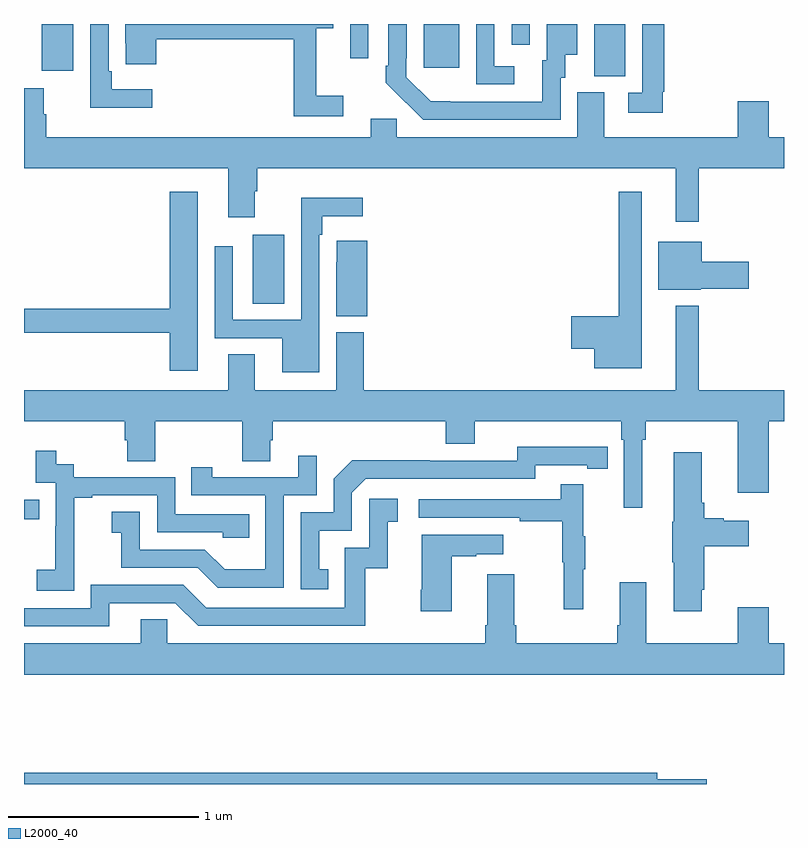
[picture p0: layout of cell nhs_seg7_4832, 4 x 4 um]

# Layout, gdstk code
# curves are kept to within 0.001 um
import gdstk
lib = gdstk.Library(unit=1e-6, precision=1e-09)
def R(c, l, rs):  # rectangles x0, y0, x1, y1
    for r in rs: c.add(gdstk.rectangle(r[:2], r[2:], *l))
def P(c, l, *ps):  # polygons
    for p in ps: c.add(gdstk.Polygon(p, *l))
L2000_40 = (2000, 40)

nhs_seg7_4832 = lib.new_cell('nhs_seg7_4832')
R(nhs_seg7_4832, L2000_40, [(413,1041.394,413.081,1041.495), (414.203,1042.528,414.37,1042.891), (416,1043.725,416.164,1044), (413.093,1043.754,413.26,1044), (415.103,1043.769,415.291,1044), (414.717,1043.82,414.813,1044), (415.566,1043.892,415.662,1044)])
P(nhs_seg7_4832, L2000_40, [(415.824,1043.718),(415.849,1043.718),(415.849,1043.837),(415.912,1043.837),(415.912,1044),(415.751,1044),(415.751,1043.808),(415.727,1043.808),(415.727,1043.592),(415.14,1043.593),(415.011,1043.721),(415.011,1043.821),(415.014,1043.821),(415.014,1044),(414.918,1044),(414.918,1043.779),(414.903,1043.779),(414.903,1043.691),(415.1,1043.496),(415.824,1043.496)],
  [(416.362,1043.644),(416.369,1043.644),(416.369,1044),(416.253,1044),(416.253,1043.637),(416.181,1043.637),(416.181,1043.532),(416.362,1043.532)],
  [(415.579,1043.778),(415.476,1043.778),(415.476,1044),(415.38,1044),(415.38,1043.682),(415.579,1043.682)],
  [(413.674,1043.656),(413.461,1043.656),(413.461,1043.752),(413.445,1043.752),(413.445,1044),(413.349,1044),(413.349,1043.558),(413.674,1043.558)],
  [(414.679,1043.623),(414.539,1043.623),(414.539,1043.978),(414.628,1043.978),(414.628,1044),(413.534,1044),(413.534,1043.899),(413.535,1043.899),(413.535,1043.787),(413.696,1043.787),(413.696,1043.92),(414.421,1043.92),(414.421,1043.514),(414.679,1043.514)],
  [(416.551,1043.24),(417,1043.24),(417,1043.404),(416.92,1043.404),(416.92,1043.593),(416.756,1043.593),(416.756,1043.404),(416.053,1043.404),(416.053,1043.64),(415.913,1043.64),(415.913,1043.404),(414.963,1043.404),(414.963,1043.502),(414.824,1043.502),(414.824,1043.404),(413.117,1043.404),(413.117,1043.525),(413.104,1043.525),(413.104,1043.662),(413,1043.662),(413,1043.24),(414.074,1043.24),(414.074,1042.983),(414.214,1042.983),(414.214,1043.12),(414.227,1043.12),(414.227,1043.24),(416.429,1043.24),(416.429,1042.959),(416.551,1042.959)],
  [(416.251,1043.116),(416.13,1043.116),(416.13,1042.463),(415.881,1042.463),(415.881,1042.292),(416,1042.292),(416,1042.187),(416.251,1042.187)],
  [(413.914,1043.116),(413.768,1043.116),(413.768,1042.502),(413,1042.502),(413,1042.374),(413.768,1042.374),(413.768,1042.176),(413.914,1042.176)],
  [(414.555,1042.892),(414.571,1042.892),(414.571,1042.988),(414.784,1042.988),(414.784,1043.086),(414.459,1043.086),(414.459,1042.443),(414.099,1042.443),(414.099,1042.831),(414.003,1042.831),(414.003,1042.347),(414.359,1042.347),(414.359,1042.166),(414.555,1042.166)],
  [(414.806,1042.858),(414.645,1042.858),(414.645,1042.745),(414.644,1042.745),(414.644,1042.462),(414.806,1042.462)],
  [(416.562,1042.607),(416.815,1042.607),(416.815,1042.749),(416.566,1042.749),(416.566,1042.855),(416.339,1042.855),(416.339,1042.601),(416.562,1042.601)],
  [(416.254,1041.812),(416.273,1041.812),(416.273,1041.908),(416.756,1041.908),(416.756,1041.534),(416.92,1041.534),(416.92,1041.908),(417,1041.908),(417,1042.072),(416.551,1042.072),(416.551,1042.516),(416.429,1042.516),(416.429,1042.072),(414.788,1042.072),(414.788,1042.377),(414.644,1042.377),(414.644,1042.072),(414.214,1042.072),(414.214,1042.262),(414.074,1042.262),(414.074,1042.072),(413,1042.072),(413,1041.908),(413.531,1041.908),(413.531,1041.81),(413.543,1041.81),(413.543,1041.7),(413.691,1041.7),(413.691,1041.908),(414.148,1041.908),(414.148,1041.7),(414.295,1041.7),(414.295,1041.81),(414.308,1041.81),(414.308,1041.908),(415.22,1041.908),(415.22,1041.791),(415.372,1041.791),(415.372,1041.908),(416.144,1041.908),(416.144,1041.812),(416.157,1041.812),(416.157,1041.453),(416.254,1041.453)],
  [(414.602,1041.129),(414.553,1041.129),(414.553,1041.333),(414.726,1041.333),(414.726,1041.534),(414.798,1041.606),(415.692,1041.606),(415.692,1041.678),(415.964,1041.678),(415.964,1041.658),(416.072,1041.658),(416.072,1041.774),(415.596,1041.775),(415.596,1041.702),(415.136,1041.702),(415.136,1041.704),(414.728,1041.704),(414.63,1041.606),(414.63,1041.429),(414.456,1041.429),(414.456,1041.024),(414.602,1041.024)],
  [(413.265,1041.223),(413.264,1041.223),(413.264,1041.507),(413.359,1041.507),(413.359,1041.519),(413.7,1041.519),(413.7,1041.324),(414.045,1041.324),(414.045,1041.297),(414.185,1041.297),(414.185,1041.42),(413.796,1041.42),(413.796,1041.615),(413.262,1041.615),(413.262,1041.684),(413.17,1041.684),(413.17,1041.754),(413.061,1041.754),(413.061,1041.585),(413.166,1041.585),(413.166,1041.356),(413.165,1041.356),(413.165,1041.127),(413.067,1041.127),(413.067,1041.017),(413.265,1041.017)],
  [(416.566,1041.022),(416.579,1041.022),(416.579,1041.251),(416.815,1041.251),(416.815,1041.385),(416.682,1041.385),(416.682,1041.398),(416.579,1041.398),(416.579,1041.481),(416.566,1041.481),(416.566,1041.745),(416.42,1041.745),(416.42,1041.381),(416.413,1041.381),(416.413,1041.167),(416.42,1041.167),(416.42,1040.91),(416.566,1040.91)],
  [(414.366,1041.519),(414.54,1041.519),(414.54,1041.727),(414.443,1041.727),(414.443,1041.615),(413.992,1041.615),(413.992,1041.667),(413.881,1041.667),(413.881,1041.519),(414.27,1041.519),(414.27,1041.13),(414.056,1041.13),(413.952,1041.234),(413.61,1041.234),(413.61,1041.433),(413.463,1041.433),(413.463,1041.323),(413.512,1041.323),(413.512,1041.138),(413.915,1041.138),(414.02,1041.033),(414.366,1041.033)],
  [(415.943,1041.131),(415.954,1041.131),(415.954,1041.305),(415.943,1041.305),(415.943,1041.577),(415.825,1041.577),(415.825,1041.498),(415.077,1041.498),(415.077,1041.402),(415.609,1041.402),(415.609,1041.382),(415.833,1041.382),(415.833,1041.168),(415.84,1041.168),(415.84,1040.919),(415.943,1040.919)],
  [(413.449,1040.952),(413.796,1040.952),(413.916,1040.832),(414.796,1040.832),(414.796,1041.135),(414.914,1041.135),(414.914,1041.381),(414.967,1041.381),(414.967,1041.502),(414.816,1041.502),(414.816,1041.243),(414.687,1041.243),(414.687,1040.928),(413.958,1040.928),(413.838,1041.048),(413.352,1041.048),(413.352,1040.925),(413,1040.925),(413,1040.829),(413.449,1040.829)],
  [(415.252,1041.199),(415.379,1041.199),(415.379,1041.209),(415.522,1041.209),(415.522,1041.313),(415.094,1041.313),(415.094,1041.022),(415.087,1041.022),(415.087,1040.91),(415.252,1040.91)],
  [(417,1040.74),(416.92,1040.74),(416.92,1040.929),(416.756,1040.929),(416.756,1040.74),(416.275,1040.74),(416.275,1041.061),(416.135,1041.061),(416.135,1040.836),(416.123,1040.836),(416.123,1040.74),(415.592,1040.74),(415.592,1040.836),(415.579,1040.836),(415.579,1041.103),(415.439,1041.103),(415.439,1040.836),(415.427,1040.836),(415.427,1040.74),(413.754,1040.74),(413.754,1040.867),(413.615,1040.867),(413.615,1040.74),(413,1040.74),(413,1040.576),(417,1040.576)],
  [(416.593,1040.024),(416.332,1040.024),(416.332,1040.06),(413,1040.06),(413,1040),(416.593,1040)])

lib.write_gds('nhs_seg7_4832.gds')
